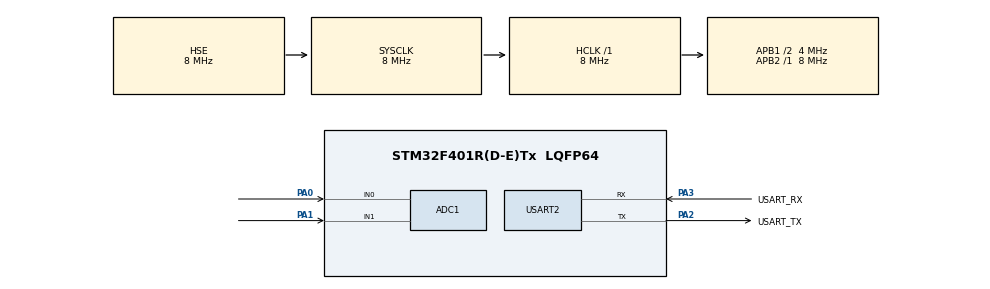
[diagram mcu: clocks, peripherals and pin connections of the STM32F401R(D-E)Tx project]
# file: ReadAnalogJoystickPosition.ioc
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ADC1.Channel-2\#ChannelRegularConversion=ADC_CHANNEL_0
ADC1.Channel-3\#ChannelRegularConversion=ADC_CHANNEL_1
ADC1.ContinuousConvMode=ENABLE
ADC1.InjNumberOfConversion=0
ADC1.NbrOfConversion=2
ADC1.NbrOfConversionFlag=1
ADC1.Rank-2\#ChannelRegularConversion=1
ADC1.Rank-3\#ChannelRegularConversion=2
ADC1.SamplingTime-2\#ChannelRegularConversion=ADC_SAMPLETIME_15CYCLES
ADC1.SamplingTime-3\#ChannelRegularConversion=ADC_SAMPLETIME_28CYCLES
ADC1.ScanConvMode=ENABLE
ADC1.master=1
Mcu.Family=STM32F4
Mcu.Name=STM32F401R(D-E)Tx
Mcu.Package=LQFP64
NVIC.PriorityGroup=NVIC_PRIORITYGROUP_0
PA0-WKUP.Signal=ADCx_IN0
PA1.Signal=ADCx_IN1
PA13.GPIO_Label=TMS
PA13.Mode=Serial_Wire
PA13.Signal=SYS_JTMS-SWDIO
PA14.GPIO_Label=TCK
PA14.Mode=Serial_Wire
PA14.Signal=SYS_JTCK-SWCLK
PA2.GPIO_Label=USART_TX
PA2.GPIO_Mode=GPIO_MODE_AF_PP
PA2.GPIO_PuPd=GPIO_NOPULL
PA2.GPIO_Speed=GPIO_SPEED_FREQ_LOW
PA2.Mode=Asynchronous
PA2.Signal=USART2_TX
PA3.GPIO_Label=USART_RX
PA3.GPIO_Mode=GPIO_MODE_AF_PP
PA3.GPIO_PuPd=GPIO_NOPULL
PA3.GPIO_Speed=GPIO_SPEED_FREQ_LOW
PA3.Mode=Asynchronous
PA3.Signal=USART2_RX
PB3.GPIO_Label=SWO
PB3.Signal=SYS_JTDO-SWO
PH0\ -\ OSC_IN.Mode=HSE-External-Clock-Source
PH0\ -\ OSC_IN.Signal=RCC_OSC_IN
PH1\ -\ OSC_OUT.Mode=HSE-External-Clock-Source
PH1\ -\ OSC_OUT.Signal=RCC_OSC_OUT
ProjectManager.HeapSize=0x200
ProjectManager.StackSize=0x400
ProjectManager.TargetToolchain=CMake
RCC.48MHZClocksFreq_Value=24000000
RCC.AHBFreq_Value=8000000
RCC.APB1CLKDivider=RCC_HCLK_DIV2
RCC.APB1Freq_Value=4000000
RCC.APB1TimFreq_Value=8000000
RCC.APB2Freq_Value=8000000
RCC.APB2TimFreq_Value=8000000
RCC.CortexFreq_Value=8000000
RCC.HCLKFreq_Value=8000000
RCC.HSE_VALUE=8000000
RCC.HSI_VALUE=16000000
RCC.PLLN=336
RCC.PLLP=RCC_PLLP_DIV4
RCC.PLLQ=7
RCC.PLLSourceVirtual=RCC_PLLSOURCE_HSE
RCC.SYSCLKFreq_VALUE=8000000
RCC.SYSCLKSource=RCC_SYSCLKSOURCE_HSE
RCC.VCOOutputFreq_Value=168000000
SH.ADCx_IN0.0=ADC1_IN0,IN0
SH.ADCx_IN1.0=ADC1_IN1,IN1
USART2.VirtualMode=VM_ASYNC
board=NUCLEO-F401RE

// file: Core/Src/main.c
/* USER CODE BEGIN Header */
/**
  ******************************************************************************
  * @file           : main.c
  * @brief          : Main program body
  ******************************************************************************
  * @attention
  *
  * Copyright (c) 2025 STMicroelectronics.
  * All rights reserved.
  *
  * This software is licensed under terms that can be found in the LICENSE file
  * in the root directory of this software component.
  * If no LICENSE file comes with this software, it is provided AS-IS.
  *
  ******************************************************************************
  */
/* USER CODE END Header */
#include "main.h"

/* USER CODE BEGIN Includes */
#include <string.h>
#include <stdio.h>

/* USER CODE END Includes */

ADC_HandleTypeDef hadc1;

UART_HandleTypeDef huart2;

/* USER CODE BEGIN PV */
typedef struct
{
  /* data */
  uint32_t axisPosition[2];
  // uint8_t button;

}Joystick;

/* USER CODE END PV */

void SystemClock_Config(void);
static void MX_GPIO_Init(void);
static void MX_ADC1_Init(void);
static void MX_USART2_UART_Init(void);

/* USER CODE BEGIN 0 */
Joystick ReadJoystickPosition(Joystick *joyStick){

  HAL_ADC_Start(&hadc1);

  for(int i = 0; i < 2 ; i++){
      HAL_ADC_PollForConversion(&hadc1,HAL_MAX_DELAY);
      joyStick->axisPosition[i] = HAL_ADC_GetValue(&hadc1);

  }
  HAL_ADC_Stop(&hadc1);
  return *joyStick;

}

void SendingJoystickDataToUART(Joystick *joyStick){
  char msg[50];

  sprintf(msg ,"X-axis angle is = %d, Y-axis angle is = %d.\r\n",joyStick->axisPosition[0], joyStick->axisPosition[1]);
  HAL_UART_Transmit(&huart2, (uint8_t *)msg, strlen(msg), HAL_MAX_DELAY);
}

/* USER CODE END 0 */

int main(void)
{

  /* USER CODE BEGIN 1 */
  Joystick joyStick;

  // char msg[50];
  /* USER CODE END 1 */

  /* MCU Configuration--------------------------------------------------------*/

  /* Reset of all peripherals, Initializes the Flash interface and the Systick. */
  HAL_Init();

  /* Configure the system clock */
  SystemClock_Config();

  /* Initialize all configured peripherals */
  MX_GPIO_Init();
  MX_ADC1_Init();
  MX_USART2_UART_Init();
  /* USER CODE BEGIN 2 */
  uint32_t adc1,adc2;
  /* USER CODE END 2 */

  /* Infinite loop */
  /* USER CODE BEGIN WHILE */
  while (1)
  {
    joyStick = ReadJoystickPosition(&joyStick);

    SendingJoystickDataToUART(&joyStick);
    // HAL_UART_Transmit(&huart2, "Hello world.\r\n", strlen("Hello world.\r\n"),HAL_MAX_DELAY);

    HAL_Delay(100);
    /* USER CODE END WHILE */

  }
}

void SystemClock_Config(void)
{
  RCC_OscInitTypeDef RCC_OscInitStruct = {0};
  RCC_ClkInitTypeDef RCC_ClkInitStruct = {0};

  /** Configure the main internal regulator output voltage
  */
  __HAL_RCC_PWR_CLK_ENABLE();
  __HAL_PWR_VOLTAGESCALING_CONFIG(PWR_REGULATOR_VOLTAGE_SCALE2);

  /** Initializes the RCC Oscillators according to the specified parameters
  * in the RCC_OscInitTypeDef structure.
  */
  RCC_OscInitStruct.OscillatorType = RCC_OSCILLATORTYPE_HSE;
  RCC_OscInitStruct.HSEState = RCC_HSE_BYPASS;
  RCC_OscInitStruct.PLL.PLLState = RCC_PLL_NONE;
  if (HAL_RCC_OscConfig(&RCC_OscInitStruct) != HAL_OK)
  {
    Error_Handler();
  }

  /** Initializes the CPU, AHB and APB buses clocks
  */
  RCC_ClkInitStruct.ClockType = RCC_CLOCKTYPE_HCLK|RCC_CLOCKTYPE_SYSCLK
                              |RCC_CLOCKTYPE_PCLK1|RCC_CLOCKTYPE_PCLK2;
  RCC_ClkInitStruct.SYSCLKSource = RCC_SYSCLKSOURCE_HSE;
  RCC_ClkInitStruct.AHBCLKDivider = RCC_SYSCLK_DIV1;
  RCC_ClkInitStruct.APB1CLKDivider = RCC_HCLK_DIV2;
  RCC_ClkInitStruct.APB2CLKDivider = RCC_HCLK_DIV1;

  if (HAL_RCC_ClockConfig(&RCC_ClkInitStruct, FLASH_LATENCY_0) != HAL_OK)
  {
    Error_Handler();
  }
}

static void MX_ADC1_Init(void)
{

  ADC_ChannelConfTypeDef sConfig = {0};

  /** Configure the global features of the ADC (Clock, Resolution, Data Alignment and number of conversion)
  */
  hadc1.Instance = ADC1;
  hadc1.Init.ClockPrescaler = ADC_CLOCK_SYNC_PCLK_DIV2;
  hadc1.Init.Resolution = ADC_RESOLUTION_12B;
  hadc1.Init.ScanConvMode = ENABLE;
  hadc1.Init.ContinuousConvMode = ENABLE;
  hadc1.Init.DiscontinuousConvMode = DISABLE;
  hadc1.Init.ExternalTrigConvEdge = ADC_EXTERNALTRIGCONVEDGE_NONE;
  hadc1.Init.ExternalTrigConv = ADC_SOFTWARE_START;
  hadc1.Init.DataAlign = ADC_DATAALIGN_RIGHT;
  hadc1.Init.NbrOfConversion = 2;
  hadc1.Init.DMAContinuousRequests = DISABLE;
  hadc1.Init.EOCSelection = ADC_EOC_SINGLE_CONV;
  if (HAL_ADC_Init(&hadc1) != HAL_OK)
  {
    Error_Handler();
  }

  /** Configure for the selected ADC regular channel its corresponding rank in the sequencer and its sample time.
  */
  sConfig.Channel = ADC_CHANNEL_0;
  sConfig.Rank = 1;
  sConfig.SamplingTime = ADC_SAMPLETIME_15CYCLES;
  if (HAL_ADC_ConfigChannel(&hadc1, &sConfig) != HAL_OK)
  {
    Error_Handler();
  }

  /** Configure for the selected ADC regular channel its corresponding rank in the sequencer and its sample time.
  */
  sConfig.Channel = ADC_CHANNEL_1;
  sConfig.Rank = 2;
  sConfig.SamplingTime = ADC_SAMPLETIME_28CYCLES;
  if (HAL_ADC_ConfigChannel(&hadc1, &sConfig) != HAL_OK)
  {
    Error_Handler();
  }

}

static void MX_USART2_UART_Init(void)
{

  huart2.Instance = USART2;
  huart2.Init.BaudRate = 115200;
  huart2.Init.WordLength = UART_WORDLENGTH_8B;
  huart2.Init.StopBits = UART_STOPBITS_1;
  huart2.Init.Parity = UART_PARITY_NONE;
  huart2.Init.Mode = UART_MODE_TX_RX;
  huart2.Init.HwFlowCtl = UART_HWCONTROL_NONE;
  huart2.Init.OverSampling = UART_OVERSAMPLING_16;
  if (HAL_UART_Init(&huart2) != HAL_OK)
  {
    Error_Handler();
  }

}

static void MX_GPIO_Init(void)
{

  /* GPIO Ports Clock Enable */
  __HAL_RCC_GPIOH_CLK_ENABLE();
  __HAL_RCC_GPIOA_CLK_ENABLE();
  __HAL_RCC_GPIOB_CLK_ENABLE();

}

void Error_Handler(void)
{
  __disable_irq();
  while (1)
  {
  }
}
